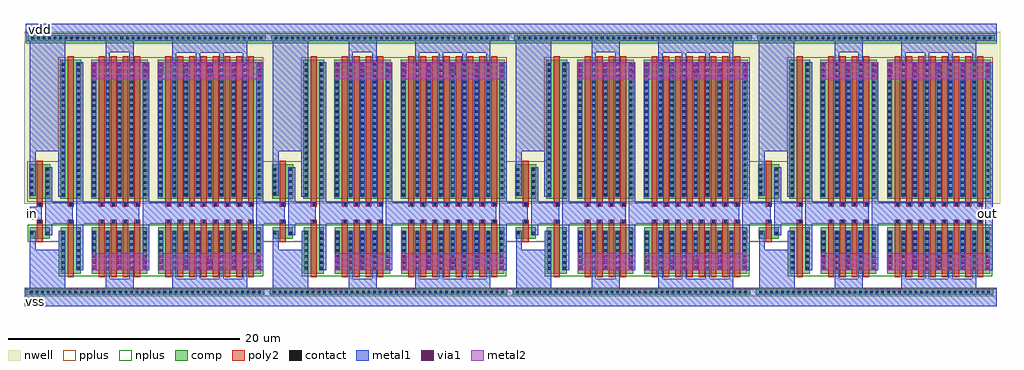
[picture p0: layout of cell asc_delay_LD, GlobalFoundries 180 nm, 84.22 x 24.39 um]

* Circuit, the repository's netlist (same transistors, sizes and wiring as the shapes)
** sch_path: /foss/designs/libs/core_analog/asc_delay_LD/asc_delay_LD.sch
.subckt asc_delay_LD in vss out vdd
*.PININFO in:B vss:B vdd:B out:B
x1 in vss net1 vdd asc_drive_buffer
x2 net1 vss net2 vdd asc_drive_buffer
x3 net2 vss net3 vdd asc_drive_buffer
x4 net3 vss out vdd asc_drive_buffer
.ends

* expanding   symbol:  libs/core_analog/asc_drive_buffer/asc_drive_buffer.sym # of pins=4
** sym_path: /foss/designs/libs/core_analog/asc_drive_buffer/asc_drive_buffer.sym
** sch_path: /foss/designs/libs/core_analog/asc_drive_buffer/asc_drive_buffer.sch
.subckt asc_drive_buffer in vss out vdd
*.PININFO in:B out:B vss:B vdd:B
M1 net1 in vdd vdd pfet_03v3 L=0.5u W=3.0u nf=1 m=1
M2 net1 in vss vss nfet_03v3 L=0.5u W=1.0u nf=1 m=1
M3 net2 net1 vdd vdd pfet_03v3 L=0.5u W=12.0u nf=1 m=1
M4 net2 net1 vss vss nfet_03v3 L=0.5u W=4.0u nf=1 m=1
M5 net3 net2 vdd vdd pfet_03v3 L=0.5u W=48.0u nf=4 m=1
M6 net3 net2 vss vss nfet_03v3 L=0.5u W=16.0u nf=4 m=1
M7 out net3 vdd vdd pfet_03v3 L=0.5u W=96.0u nf=8 m=1
M8 out net3 vss vss nfet_03v3 L=0.5u W=32.0u nf=8 m=1
.ends

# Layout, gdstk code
from math import pi, radians
import gdstk
lib = gdstk.Library(unit=1e-6, precision=5e-09)
def R(c, l, rs):  # rectangles x0, y0, x1, y1
    for r in rs: c.add(gdstk.rectangle(r[:2], r[2:], *l))
def A(c, l, x, y, w, h, nx, ny, dx, dy):  # array of equal rectangles
    R(c, l, [(x+i*dx, y+j*dy, x+i*dx+w, y+j*dy+h) for i in range(nx) for j in range(ny)])
nwell = (21, 0)
comp = (22, 0)
poly2 = (30, 0)
pplus = (31, 0)
nplus = (32, 0)
contact = (33, 0)
metal1 = (34, 0)
via1 = (35, 0)
metal2 = (36, 0)

via_dev_1 = lib.new_cell('via_dev$1')
R(via_dev_1, comp, [(0,0,20.5,0.5)])
A(via_dev_1, contact, 0.3, 0.14, 0.22, 0.22, 42, 1, 0.48, 0)
R(via_dev_1, metal1, [(0,0,20.5,0.5)])

nfet_1 = lib.new_cell('nfet$1')
R(nfet_1, comp, [(-0.42,0,0,4), (0,0,8.02,4), (8.02,0,8.44,4)])
A(nfet_1, poly2, 0.19, -0.3, 0.5, 4.6, 8, 1, 1.02, 0)
A(nfet_1, poly2, 0.19, 4.3, 0.5, 0.36, 8, 1, 1.02, 0)
R(nfet_1, nplus, [(-0.59,-0.24,8.61,4.24)])
A(nfet_1, contact, -0.32, 0.36, 0.22, 0.22, 1, 7, 0, 0.51)
A(nfet_1, contact, 0.84, 0.36, 0.22, 0.22, 7, 7, 1.02, 0.51)
A(nfet_1, contact, 8.12, 0.36, 0.22, 0.22, 1, 7, 0, 0.51)
A(nfet_1, contact, 0.33, 4.37, 0.22, 0.22, 8, 1, 1.02, 0)
A(nfet_1, metal1, 0.76, 0.28, 0.38, 3.44, 7, 1, 1.02, 0)
A(nfet_1, metal1, 0.25, 4.29, 0.38, 0.38, 8, 1, 1.02, 0)
R(nfet_1, metal1, [(-0.4,0.28,-0.02,3.72), (8.04,0.28,8.42,3.72)])

pfet = lib.new_cell('pfet')
R(pfet, nwell, [(-0.9,-0.44,8.92,12.44)])
R(pfet, comp, [(-0.46,0,0,12), (0,0,8.02,12), (8.02,0,8.48,12)])
A(pfet, poly2, 0.19, -0.68, 0.5, 0.38, 8, 1, 1.02, 0)
A(pfet, poly2, 0.19, -0.3, 0.5, 12.6, 8, 1, 1.02, 0)
R(pfet, pplus, [(-0.63,-0.24,8.65,12.24)])
A(pfet, contact, 0.33, -0.6, 0.22, 0.22, 8, 1, 1.02, 0)
A(pfet, contact, -0.34, 0.28, 0.22, 0.22, 1, 23, 0, 0.51)
A(pfet, contact, 0.84, 0.28, 0.22, 0.22, 7, 23, 1.02, 0.51)
A(pfet, contact, 8.14, 0.28, 0.22, 0.22, 1, 23, 0, 0.51)
A(pfet, metal1, 0.25, -0.68, 0.38, 0.38, 8, 1, 1.02, 0)
A(pfet, metal1, 0.76, 0.2, 0.38, 11.6, 7, 1, 1.02, 0)
R(pfet, metal1, [(-0.42,0.2,-0.04,11.8), (8.06,0.2,8.44,11.8)])

pfet_1 = lib.new_cell('pfet$1')
R(pfet_1, nwell, [(-0.9,-0.44,4.84,12.44)])
R(pfet_1, comp, [(-0.46,0,0,12), (0,0,3.94,12), (3.94,0,4.4,12)])
A(pfet_1, poly2, 0.19, -0.68, 0.5, 0.38, 4, 1, 1.02, 0)
A(pfet_1, poly2, 0.19, -0.3, 0.5, 12.6, 4, 1, 1.02, 0)
R(pfet_1, pplus, [(-0.63,-0.24,4.57,12.24)])
A(pfet_1, contact, 0.33, -0.6, 0.22, 0.22, 4, 1, 1.02, 0)
A(pfet_1, contact, -0.34, 0.28, 0.22, 0.22, 1, 23, 0, 0.51)
A(pfet_1, contact, 0.84, 0.28, 0.22, 0.22, 3, 23, 1.02, 0.51)
A(pfet_1, contact, 4.06, 0.28, 0.22, 0.22, 1, 23, 0, 0.51)
A(pfet_1, metal1, 0.25, -0.68, 0.38, 0.38, 4, 1, 1.02, 0)
A(pfet_1, metal1, 0.76, 0.2, 0.38, 11.6, 3, 1, 1.02, 0)
R(pfet_1, metal1, [(-0.42,0.2,-0.04,11.8), (3.98,0.2,4.36,11.8)])

pfet_2 = lib.new_cell('pfet$2')
R(pfet_2, nwell, [(-0.9,-0.44,1.78,12.44)])
R(pfet_2, comp, [(-0.46,0,0,12), (0,0,0.88,12), (0.88,0,1.34,12)])
R(pfet_2, poly2, [(0.19,-0.68,0.69,-0.3), (0.19,-0.3,0.69,12.3)])
R(pfet_2, pplus, [(-0.63,-0.24,1.51,12.24)])
A(pfet_2, contact, -0.34, 0.28, 0.22, 0.22, 1, 23, 0, 0.51)
A(pfet_2, contact, 1, 0.28, 0.22, 0.22, 1, 23, 0, 0.51)
R(pfet_2, contact, [(0.33,-0.6,0.55,-0.38)])
R(pfet_2, metal1, [(0.25,-0.68,0.63,-0.3), (-0.42,0.2,-0.04,11.8), (0.92,0.2,1.3,11.8)])

pfet_3 = lib.new_cell('pfet$3')
R(pfet_3, nwell, [(-0.9,-0.44,1.78,3.44)])
R(pfet_3, comp, [(-0.46,0,0,3), (0,0,0.88,3), (0.88,0,1.34,3)])
R(pfet_3, poly2, [(0.19,-0.68,0.69,-0.3), (0.19,-0.3,0.69,3.3)])
R(pfet_3, pplus, [(-0.63,-0.24,1.51,3.24)])
A(pfet_3, contact, -0.34, 0.37, 0.22, 0.22, 1, 5, 0, 0.51)
A(pfet_3, contact, 1, 0.37, 0.22, 0.22, 1, 5, 0, 0.51)
R(pfet_3, contact, [(0.33,-0.6,0.55,-0.38)])
R(pfet_3, metal1, [(0.25,-0.68,0.63,-0.3), (-0.42,0.29,-0.04,2.71), (0.92,0.29,1.3,2.71)])

via_dev = lib.new_cell('via_dev')
R(via_dev, metal1, [(0,0,1.1,0.4)])
R(via_dev, via1, [(0.155,0.07,0.415,0.33), (0.685,0.07,0.945,0.33)])
R(via_dev, metal2, [(0,0,1.1,0.4)])

via_dev_2 = lib.new_cell('via_dev$2')

nfet_2 = lib.new_cell('nfet$2')
R(nfet_2, comp, [(-0.42,0,0,4), (0,0,0.88,4), (0.88,0,1.3,4)])
R(nfet_2, poly2, [(0.19,-0.3,0.69,4.3), (0.19,4.3,0.69,4.66)])
R(nfet_2, nplus, [(-0.59,-0.24,1.47,4.24)])
A(nfet_2, contact, -0.32, 0.36, 0.22, 0.22, 1, 7, 0, 0.51)
A(nfet_2, contact, 0.98, 0.36, 0.22, 0.22, 1, 7, 0, 0.51)
R(nfet_2, contact, [(0.33,4.37,0.55,4.59)])
R(nfet_2, metal1, [(-0.4,0.28,-0.02,3.72), (0.9,0.28,1.28,3.72), (0.25,4.29,0.63,4.67)])

nfet = lib.new_cell('nfet')
R(nfet, comp, [(-0.42,0,0,4), (0,0,3.94,4), (3.94,0,4.36,4)])
A(nfet, poly2, 0.19, -0.3, 0.5, 4.6, 4, 1, 1.02, 0)
A(nfet, poly2, 0.19, 4.3, 0.5, 0.36, 4, 1, 1.02, 0)
R(nfet, nplus, [(-0.59,-0.24,4.53,4.24)])
A(nfet, contact, -0.32, 0.36, 0.22, 0.22, 1, 7, 0, 0.51)
A(nfet, contact, 0.84, 0.36, 0.22, 0.22, 3, 7, 1.02, 0.51)
A(nfet, contact, 4.04, 0.36, 0.22, 0.22, 1, 7, 0, 0.51)
A(nfet, contact, 0.33, 4.37, 0.22, 0.22, 4, 1, 1.02, 0)
A(nfet, metal1, 0.76, 0.28, 0.38, 3.44, 3, 1, 1.02, 0)
A(nfet, metal1, 0.25, 4.29, 0.38, 0.38, 4, 1, 1.02, 0)
R(nfet, metal1, [(-0.4,0.28,-0.02,3.72), (3.96,0.28,4.34,3.72)])

nfet_3 = lib.new_cell('nfet$3')
R(nfet_3, comp, [(-0.42,0,0,1), (0,0,0.88,1), (0.88,0,1.3,1)])
R(nfet_3, poly2, [(0.19,-0.3,0.69,1.3), (0.19,1.3,0.69,1.66)])
R(nfet_3, nplus, [(-0.59,-0.24,1.47,1.24)])
R(nfet_3, contact, [(-0.32,0.39,-0.1,0.61), (0.98,0.39,1.2,0.61), (0.33,1.37,0.55,1.59)])
R(nfet_3, metal1, [(-0.4,0.31,-0.02,0.69), (0.9,0.31,1.28,0.69), (0.25,1.29,0.63,1.67)])

asc_delay_ld = lib.new_cell('asc_delay_LD')
A(asc_delay_ld, nwell, 20.385, 3.535, 0.37, 12.88, 4, 1, 20.97, 0)
A(asc_delay_ld, nwell, -0.55, 7.415, 2.695, 8.8, 4, 1, 20.97, 0)
A(asc_delay_ld, nwell, -0.55, 16.215, 2.695, 0.2, 4, 1, 20.97, 0)
A(asc_delay_ld, nwell, -0.55, 16.415, 21.305, 2, 4, 1, 20.97, 0)
A(asc_delay_ld, pplus, -0.485, -4.435, 20.97, 0.75, 4, 1, 20.97, 0)
A(asc_delay_ld, pplus, 1.875, 3.735, 0.54, 3.48, 4, 1, 20.97, 0)
A(asc_delay_ld, pplus, 20.115, 3.735, 0.59, 3.48, 3, 1, 20.97, 0)
R(asc_delay_ld, pplus, [(4.555,3.735,5.095,16.215), (10.295,3.735,10.835,16.215), (25.525,3.735,26.065,16.215), (31.265,3.735,31.805,16.215), (46.495,3.735,47.035,16.215), (52.235,3.735,52.775,16.215), (67.465,3.735,68.005,16.215), (73.205,3.735,73.745,16.215)])
A(asc_delay_ld, nplus, 1.835, 0.28, 0.62, 1.48, 4, 1, 20.97, 0)
A(asc_delay_ld, nplus, 20.075, 0.28, 0.67, 1.48, 3, 1, 20.97, 0)
A(asc_delay_ld, nplus, -0.39, 17.39, 20.875, 0.865, 4, 1, 20.97, 0)
A(asc_delay_ld, nplus, 20.485, 17.39, 0.095, 0.865, 3, 1, 20.97, 0)
R(asc_delay_ld, nplus, [(4.515,-2.72,5.135,1.76), (10.255,-2.72,10.875,1.76), (25.485,-2.72,26.105,1.76), (31.225,-2.72,31.845,1.76), (46.455,-2.72,47.075,1.76), (52.195,-2.72,52.815,1.76), (67.425,-2.72,68.045,1.76), (73.165,-2.72,73.785,1.76)])
A(asc_delay_ld, metal1, -0.485, -5.295, 20.97, 1.5, 4, 1, 20.97, 0)
A(asc_delay_ld, metal1, -0.485, -4.295, 0.15, 0.5, 4, 1, 20.97, 0)
A(asc_delay_ld, metal1, -0.035, -3.795, 0.505, 5.005, 4, 1, 20.97, 0)
A(asc_delay_ld, metal1, 0.47, -3.795, 1.985, 3.395, 4, 1, 20.97, 0)
A(asc_delay_ld, metal1, 2.455, -3.795, 0.57, 5.035, 4, 1, 20.97, 0)
A(asc_delay_ld, metal1, 6.865, -3.795, 1.66, 0.895, 4, 1, 20.97, 0)
A(asc_delay_ld, metal1, 12.225, -3.795, 0.38, 1.595, 4, 1, 2.04, 0)
A(asc_delay_ld, metal1, 12.605, -3.795, 5.74, 0.89, 4, 1, 20.97, 0)
A(asc_delay_ld, metal1, 33.195, -3.795, 0.38, 1.595, 4, 1, 2.04, 0)
A(asc_delay_ld, metal1, 54.165, -3.795, 0.38, 1.595, 4, 1, 2.04, 0)
A(asc_delay_ld, metal1, 75.135, -3.795, 0.38, 1.595, 4, 1, 2.04, 0)
A(asc_delay_ld, metal1, 9.685, -2.205, 0.57, 17.98, 4, 1, 20.97, 0)
A(asc_delay_ld, metal1, 3.945, -2.2, 0.61, 17.975, 4, 1, 20.97, 0)
A(asc_delay_ld, metal1, 19.485, -2.2, 0.63, 17.975, 4, 1, 20.97, 0)
A(asc_delay_ld, metal1, 1.265, 0.83, 0.61, 5.855, 4, 1, 20.97, 0)
A(asc_delay_ld, metal1, 1.875, 1.81, 1.8, 1.865, 4, 1, 20.97, 0)
A(asc_delay_ld, metal1, 4.555, 1.81, 4.86, 1.865, 4, 1, 20.97, 0)
A(asc_delay_ld, metal1, 10.255, 1.81, 8.98, 1.865, 4, 1, 20.97, 0)
A(asc_delay_ld, metal1, 19.485, 1.81, 2.48, 1.865, 3, 1, 20.97, 0)
A(asc_delay_ld, metal1, -0.065, 2.19, 1.06, 1.105, 4, 1, 20.97, 0)
A(asc_delay_ld, metal1, 3.295, 2.19, 0.38, 1.105, 4, 1, 20.97, 0)
A(asc_delay_ld, metal1, 2.415, 4.175, 0.59, 13.415, 4, 1, 20.97, 0)
A(asc_delay_ld, metal1, 1.285, 4.195, 0.38, 0.07, 4, 1, 20.97, 0)
A(asc_delay_ld, metal1, -0.055, 4.265, 0.515, 13.325, 4, 1, 20.97, 0)
A(asc_delay_ld, metal1, 0.46, 8.105, 1.955, 9.485, 4, 1, 20.97, 0)
A(asc_delay_ld, metal1, 12.225, 15.775, 0.38, 1.815, 4, 1, 2.04, 0)
A(asc_delay_ld, metal1, 33.195, 15.775, 0.38, 1.815, 4, 1, 2.04, 0)
A(asc_delay_ld, metal1, 54.165, 15.775, 0.38, 1.815, 4, 1, 2.04, 0)
A(asc_delay_ld, metal1, 75.135, 15.775, 0.38, 1.815, 4, 1, 2.04, 0)
A(asc_delay_ld, metal1, 12.605, 16.6, 5.74, 0.99, 4, 1, 20.97, 0)
A(asc_delay_ld, metal1, 6.865, 16.605, 1.66, 0.985, 4, 1, 20.97, 0)
A(asc_delay_ld, metal1, -0.39, 17.59, 20.875, 1.5, 4, 1, 20.97, 0)
A(asc_delay_ld, metal1, -0.355, 17.59, 0.15, 0.5, 4, 1, 20.97, 0)
A(asc_delay_ld, metal1, 20.485, 17.59, 0.095, 1.5, 3, 1, 20.97, 0)
R(asc_delay_ld, metal1, [(6.485,-3.795,6.865,-2.2), (8.525,-3.795,8.905,-2.2), (27.455,-3.795,27.835,-2.2), (29.495,-3.795,29.875,-2.2), (48.425,-3.795,48.805,-2.2), (50.465,-3.795,50.845,-2.2), (69.395,-3.795,69.775,-2.2), (71.435,-3.795,71.815,-2.2), (6.485,15.775,6.865,17.59), (8.525,15.775,8.905,17.59), (27.455,15.775,27.835,17.59), (29.495,15.775,29.875,17.59), (48.425,15.775,48.805,17.59), (50.465,15.775,50.845,17.59), (69.395,15.775,69.775,17.59), (71.435,15.775,71.815,17.59)])
A(asc_delay_ld, metal2, 5.305, -2.205, 4.78, 1.505, 4, 1, 20.97, 0)
A(asc_delay_ld, metal2, 11.065, -2.205, 8.84, 1.505, 4, 1, 20.97, 0)
A(asc_delay_ld, metal2, 5.305, 14.275, 4.87, 1.5, 4, 1, 20.97, 0)
A(asc_delay_ld, metal2, 11.045, 14.275, 8.86, 1.5, 4, 1, 20.97, 0)
asc_delay_ld.add(gdstk.Reference(via_dev_1, (20.765,17.59)))
asc_delay_ld.add(gdstk.Reference(via_dev_1, (20.635,-4.295)))
asc_delay_ld.add(gdstk.Reference(nfet_1, (32.435,-2.48)))
asc_delay_ld.add(gdstk.Reference(pfet, (32.435,3.975)))
asc_delay_ld.add(gdstk.Reference(pfet_1, (26.695,3.975)))
asc_delay_ld.add(gdstk.Reference(pfet_2, (24.015,3.975)))
asc_delay_ld.add(gdstk.Reference(pfet_3, (21.335,3.975)))
asc_delay_ld.add(gdstk.Reference(pfet, (11.465,3.975)))
asc_delay_ld.add(gdstk.Reference(pfet_1, (5.725,3.975)))
asc_delay_ld.add(gdstk.Reference(pfet_2, (3.045,3.975)))
asc_delay_ld.add(gdstk.Reference(pfet_3, (0.365,3.975)))
asc_delay_ld.add(gdstk.Reference(pfet, (74.375,3.975)))
asc_delay_ld.add(gdstk.Reference(pfet_1, (68.635,3.975)))
asc_delay_ld.add(gdstk.Reference(pfet_2, (65.955,3.975)))
asc_delay_ld.add(gdstk.Reference(pfet_3, (63.275,3.975)))
asc_delay_ld.add(gdstk.Reference(pfet, (53.405,3.975)))
asc_delay_ld.add(gdstk.Reference(pfet_1, (47.665,3.975)))
asc_delay_ld.add(gdstk.Reference(pfet_2, (44.985,3.975)))
asc_delay_ld.add(gdstk.Reference(pfet_3, (42.305,3.975)))
asc_delay_ld.add(gdstk.Reference(via_dev, (73.085,14.675), rotation=pi/2))
asc_delay_ld.add(gdstk.Reference(via_dev, (74.355,14.675), rotation=pi/2))
asc_delay_ld.add(gdstk.Reference(via_dev, (76.545,14.675), rotation=pi/2))
asc_delay_ld.add(gdstk.Reference(via_dev, (78.585,14.675), rotation=pi/2))
asc_delay_ld.add(gdstk.Reference(via_dev, (80.625,14.675), rotation=pi/2))
asc_delay_ld.add(gdstk.Reference(via_dev, (82.815,14.675), rotation=pi/2))
asc_delay_ld.add(gdstk.Reference(via_dev_1, (41.735,17.59)))
asc_delay_ld.add(gdstk.Reference(via_dev, (40.875,14.675), rotation=pi/2))
asc_delay_ld.add(gdstk.Reference(via_dev_1, (62.705,17.59)))
asc_delay_ld.add(gdstk.Reference(via_dev, (68.615,14.675), rotation=pi/2))
asc_delay_ld.add(gdstk.Reference(via_dev, (70.805,14.675), rotation=pi/2))
asc_delay_ld.add(gdstk.Reference(via_dev, (47.645,14.675), rotation=pi/2))
asc_delay_ld.add(gdstk.Reference(via_dev, (49.835,14.675), rotation=pi/2))
asc_delay_ld.add(gdstk.Reference(via_dev, (52.115,14.675), rotation=pi/2))
asc_delay_ld.add(gdstk.Reference(via_dev, (53.385,14.675), rotation=pi/2))
asc_delay_ld.add(gdstk.Reference(via_dev, (55.575,14.675), rotation=pi/2))
asc_delay_ld.add(gdstk.Reference(via_dev, (57.615,14.675), rotation=pi/2))
asc_delay_ld.add(gdstk.Reference(via_dev, (59.655,14.675), rotation=pi/2))
asc_delay_ld.add(gdstk.Reference(via_dev, (61.845,14.675), rotation=pi/2))
asc_delay_ld.add(gdstk.Reference(via_dev, (10.175,14.675), rotation=pi/2))
asc_delay_ld.add(gdstk.Reference(via_dev, (11.445,14.675), rotation=pi/2))
asc_delay_ld.add(gdstk.Reference(via_dev, (13.635,14.675), rotation=pi/2))
asc_delay_ld.add(gdstk.Reference(via_dev, (15.675,14.675), rotation=pi/2))
asc_delay_ld.add(gdstk.Reference(via_dev, (17.715,14.675), rotation=pi/2))
asc_delay_ld.add(gdstk.Reference(via_dev, (19.905,14.675), rotation=pi/2))
asc_delay_ld.add(gdstk.Reference(via_dev, (36.645,14.675), rotation=pi/2))
asc_delay_ld.add(gdstk.Reference(via_dev, (38.685,14.675), rotation=pi/2))
asc_delay_ld.add(gdstk.Reference(via_dev, (26.675,14.675), rotation=pi/2))
asc_delay_ld.add(gdstk.Reference(via_dev_1, (-0.205,17.59)))
asc_delay_ld.add(gdstk.Reference(via_dev, (28.865,14.675), rotation=pi/2))
asc_delay_ld.add(gdstk.Reference(via_dev, (31.145,14.675), rotation=pi/2))
asc_delay_ld.add(gdstk.Reference(via_dev, (32.415,14.675), rotation=pi/2))
asc_delay_ld.add(gdstk.Reference(via_dev, (34.605,14.675), rotation=pi/2))
asc_delay_ld.add(gdstk.Reference(via_dev, (5.705,14.675), rotation=pi/2))
asc_delay_ld.add(gdstk.Reference(via_dev, (7.895,14.675), rotation=pi/2))
asc_delay_ld.add(gdstk.Reference(via_dev, (19.885,-2.2), rotation=pi/2))
asc_delay_ld.add(gdstk.Reference(via_dev, (5.705,-2.2), rotation=pi/2))
asc_delay_ld.add(gdstk.Reference(via_dev_1, (-0.335,-4.295)))
asc_delay_ld.add(gdstk.Reference(nfet_1, (11.465,-2.48)))
asc_delay_ld.add(gdstk.Reference(via_dev, (7.895,-2.2), rotation=pi/2))
asc_delay_ld.add(gdstk.Reference(via_dev, (26.675,-2.2), rotation=pi/2))
asc_delay_ld.add(gdstk.Reference(via_dev_2, (4.365,-3.5), rotation=pi/2))
asc_delay_ld.add(gdstk.Reference(nfet_2, (24.015,-2.48)))
asc_delay_ld.add(gdstk.Reference(nfet_2, (3.045,-2.48)))
asc_delay_ld.add(gdstk.Reference(via_dev_2, (1.685,-3.5), rotation=pi/2))
asc_delay_ld.add(gdstk.Reference(nfet, (26.695,-2.48)))
asc_delay_ld.add(gdstk.Reference(via_dev_2, (-2.615,-3.5), rotation=pi/2))
asc_delay_ld.add(gdstk.Reference(nfet_3, (0.365,0.52)))
asc_delay_ld.add(gdstk.Reference(via_dev, (10.085,-2.2), rotation=pi/2))
asc_delay_ld.add(gdstk.Reference(via_dev_2, (18.355,-3.5), rotation=pi/2))
asc_delay_ld.add(gdstk.Reference(nfet_3, (21.335,0.52)))
asc_delay_ld.add(gdstk.Reference(via_dev, (31.055,-2.2), rotation=pi/2))
asc_delay_ld.add(gdstk.Reference(via_dev, (28.865,-2.2), rotation=pi/2))
asc_delay_ld.add(gdstk.Reference(via_dev, (32.435,-2.2), rotation=pi/2))
asc_delay_ld.add(gdstk.Reference(via_dev, (34.605,-2.2), rotation=pi/2))
asc_delay_ld.add(gdstk.Reference(via_dev, (36.645,-2.2), rotation=pi/2))
asc_delay_ld.add(gdstk.Reference(via_dev, (38.685,-2.2), rotation=pi/2))
asc_delay_ld.add(gdstk.Reference(nfet, (5.725,-2.48)))
asc_delay_ld.add(gdstk.Reference(via_dev, (11.465,-2.2), rotation=pi/2))
asc_delay_ld.add(gdstk.Reference(via_dev, (13.635,-2.2), rotation=pi/2))
asc_delay_ld.add(gdstk.Reference(via_dev, (15.675,-2.2), rotation=pi/2))
asc_delay_ld.add(gdstk.Reference(via_dev, (17.715,-2.2), rotation=pi/2))
asc_delay_ld.add(gdstk.Reference(via_dev, (80.625,-2.2), rotation=pi/2))
asc_delay_ld.add(gdstk.Reference(via_dev, (82.795,-2.2), rotation=pi/2))
asc_delay_ld.add(gdstk.Reference(nfet, (47.665,-2.48)))
asc_delay_ld.add(gdstk.Reference(via_dev, (72.995,-2.2), rotation=pi/2))
asc_delay_ld.add(gdstk.Reference(via_dev_1, (41.605,-4.295)))
asc_delay_ld.add(gdstk.Reference(nfet_1, (53.405,-2.48)))
asc_delay_ld.add(gdstk.Reference(via_dev, (49.835,-2.2), rotation=pi/2))
asc_delay_ld.add(gdstk.Reference(via_dev, (47.645,-2.2), rotation=pi/2))
asc_delay_ld.add(gdstk.Reference(via_dev_1, (62.575,-4.295)))
asc_delay_ld.add(gdstk.Reference(nfet_2, (44.985,-2.48)))
asc_delay_ld.add(gdstk.Reference(nfet_1, (74.375,-2.48)))
asc_delay_ld.add(gdstk.Reference(nfet_3, (42.305,0.52)))
asc_delay_ld.add(gdstk.Reference(via_dev, (52.025,-2.2), rotation=pi/2))
asc_delay_ld.add(gdstk.Reference(via_dev, (70.805,-2.2), rotation=pi/2))
asc_delay_ld.add(gdstk.Reference(via_dev, (40.855,-2.2), rotation=pi/2))
asc_delay_ld.add(gdstk.Reference(via_dev, (68.615,-2.2), rotation=pi/2))
asc_delay_ld.add(gdstk.Reference(nfet_2, (65.955,-2.48)))
asc_delay_ld.add(gdstk.Reference(nfet, (68.635,-2.48)))
asc_delay_ld.add(gdstk.Reference(nfet_3, (63.275,0.52)))
asc_delay_ld.add(gdstk.Reference(via_dev, (74.375,-2.2), rotation=pi/2))
asc_delay_ld.add(gdstk.Reference(via_dev, (76.545,-2.2), rotation=pi/2))
asc_delay_ld.add(gdstk.Reference(via_dev, (78.585,-2.2), rotation=pi/2))
asc_delay_ld.add(gdstk.Reference(via_dev, (53.405,-2.2), rotation=pi/2))
asc_delay_ld.add(gdstk.Reference(via_dev, (55.575,-2.2), rotation=pi/2))
asc_delay_ld.add(gdstk.Reference(via_dev, (57.615,-2.2), rotation=pi/2))
asc_delay_ld.add(gdstk.Reference(via_dev, (59.655,-2.2), rotation=pi/2))
asc_delay_ld.add(gdstk.Reference(via_dev, (61.825,-2.2), rotation=pi/2))
asc_delay_ld.add(gdstk.Label('vss', (0.45,-4.89), layer=34, texttype=10))
asc_delay_ld.add(gdstk.Label('in', (0.2,2.705), layer=34, texttype=10))
asc_delay_ld.add(gdstk.Label('vdd', (0.91,18.59), layer=34, texttype=10))
asc_delay_ld.add(gdstk.Label('out', (82.61,2.735), layer=34, texttype=10))

lib.write_gds('asc_delay_LD.gds')
